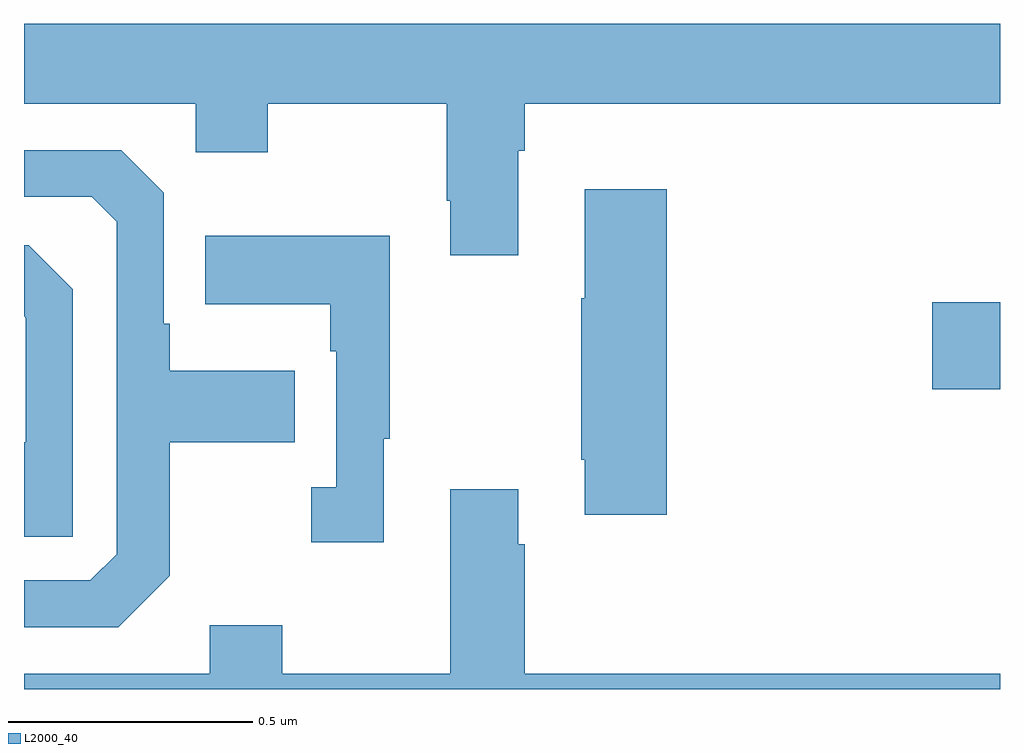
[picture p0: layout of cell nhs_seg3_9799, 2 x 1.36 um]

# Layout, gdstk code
import gdstk
lib = gdstk.Library(unit=1e-6, precision=1e-09)
def R(c, l, rs):  # rectangles x0, y0, x1, y1
    for r in rs: c.add(gdstk.rectangle(r[:2], r[2:], *l))
def P(c, l, *ps):  # polygons
    for p in ps: c.add(gdstk.Polygon(p, *l))
L2000_40 = (2000, 40)

nhs_seg3_9799 = lib.new_cell('nhs_seg3_9799')
R(nhs_seg3_9799, L2000_40, [(234.861,683.015,235,683.193)])
P(nhs_seg3_9799, L2000_40, [(234.013,683.504),(234.026,683.504),(234.026,683.6),(235,683.6),(235,683.764),(233,683.764),(233,683.6),(233.352,683.6),(233.352,683.501),(233.499,683.501),(233.499,683.6),(233.866,683.6),(233.866,683.401),(233.873,683.401),(233.873,683.289),(234.013,683.289)],
  [(233.299,682.633),(233.299,682.906),(233.555,682.906),(233.555,683.053),(233.299,683.053),(233.299,683.149),(233.286,683.149),(233.286,683.418),(233.199,683.505),(233,683.505),(233,683.409),(233.139,683.409),(233.19,683.358),(233.19,682.677),(233.136,682.623),(233,682.623),(233,682.527),(233.193,682.527)],
  [(234.317,683.425),(234.149,683.425),(234.149,683.201),(234.142,683.201),(234.142,682.87),(234.149,682.87),(234.149,682.758),(234.317,682.758)],
  [(233.737,682.913),(233.749,682.913),(233.749,683.329),(233.371,683.329),(233.371,683.189),(233.628,683.189),(233.628,683.093),(233.64,683.093),(233.64,682.814),(233.589,682.814),(233.589,682.701),(233.737,682.701)],
  [(233.1,683.22),(233.01,683.31),(233,683.31),(233,683.164),(233.004,683.16),(233.004,682.906),(233,682.906),(233,682.713),(233.1,682.713)],
  [(235,682.432),(234.026,682.432),(234.026,682.697),(234.013,682.697),(234.013,682.81),(233.873,682.81),(233.873,682.432),(233.529,682.432),(233.529,682.531),(233.381,682.531),(233.381,682.432),(233,682.432),(233,682.4),(235,682.4)])

lib.write_gds('nhs_seg3_9799.gds')
